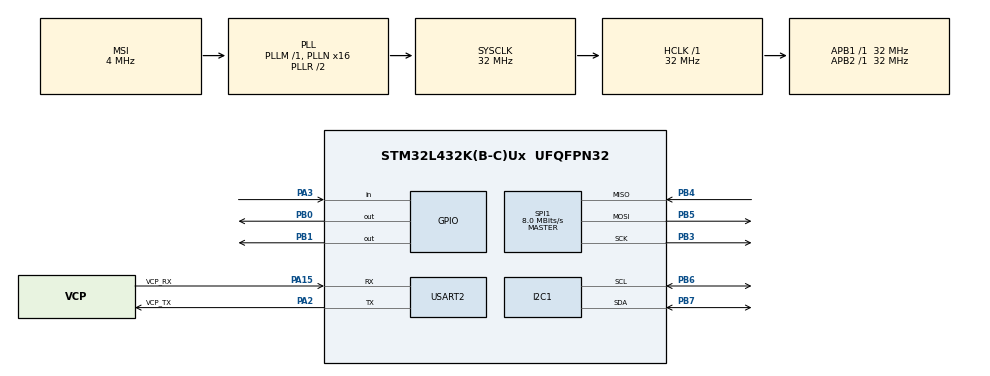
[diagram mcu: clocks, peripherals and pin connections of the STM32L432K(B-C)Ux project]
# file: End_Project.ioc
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I2C1.Timing=0x00B07CB4
Mcu.Family=STM32L4
Mcu.Name=STM32L432K(B-C)Ux
Mcu.Package=UFQFPN32
NVIC.PriorityGroup=NVIC_PRIORITYGROUP_4
NVIC.TIM6_DAC_IRQn=true\:0\:0\:false\:false\:true\:true\:true\:true
NVIC.USART2_IRQn=true\:0\:0\:false\:false\:true\:true\:true\:true
PA0.GPIO_Label=MCO [High speed clock in]
PA0.Signal=RCC_CK_IN
PA13\ (JTMS-SWDIO).GPIO_Label=SWDIO
PA13\ (JTMS-SWDIO).Signal=SYS_JTMS-SWDIO
PA14\ (JTCK-SWCLK).GPIO_Label=SWCLK
PA14\ (JTCK-SWCLK).Signal=SYS_JTCK-SWCLK
PA15\ (JTDI).GPIO_Label=VCP_RX
PA15\ (JTDI).Mode=Asynchronous
PA15\ (JTDI).Signal=USART2_RX
PA2.GPIO_Label=VCP_TX
PA2.Mode=Asynchronous
PA2.Signal=USART2_TX
PA3.Signal=GPIO_Input
PB0.GPIO_Speed=GPIO_SPEED_FREQ_VERY_HIGH
PB0.PinState=GPIO_PIN_SET
PB0.Signal=GPIO_Output
PB1.PinState=GPIO_PIN_SET
PB1.Signal=GPIO_Output
PB3\ (JTDO-TRACESWO).Mode=Full_Duplex_Master
PB3\ (JTDO-TRACESWO).Signal=SPI1_SCK
PB4\ (NJTRST).Mode=Full_Duplex_Master
PB4\ (NJTRST).Signal=SPI1_MISO
PB5.Mode=Full_Duplex_Master
PB5.Signal=SPI1_MOSI
PB6.Mode=I2C
PB6.Signal=I2C1_SCL
PB7.Mode=I2C
PB7.Signal=I2C1_SDA
PC14-OSC32_IN\ (PC14).Signal=RCC_OSC32_IN
PC15-OSC32_OUT\ (PC15).Signal=RCC_OSC32_OUT
ProjectManager.HeapSize=0x200
ProjectManager.StackSize=0x400
ProjectManager.TargetToolchain=STM32CubeIDE
RCC.AHBFreq_Value=32000000
RCC.APB1Freq_Value=32000000
RCC.APB1TimFreq_Value=32000000
RCC.APB2Freq_Value=32000000
RCC.APB2TimFreq_Value=32000000
RCC.CortexFreq_Value=32000000
RCC.HCLKFreq_Value=32000000
RCC.HSE_VALUE=8000000
RCC.HSI16_VALUE=16000000
RCC.HSI48_VALUE=48000000
RCC.HSI_VALUE=16000000
RCC.LSE_VALUE=32768
RCC.MSI_VALUE=4000000
RCC.PLLMUL=RCC_PLLMUL_4
RCC.PLLN=16
RCC.SYSCLKFreq_VALUE=32000000
RCC.SYSCLKSource=RCC_SYSCLKSOURCE_PLLCLK
RCC.VCOOutputFreq_Value=64000000
SPI1.BaudRatePrescaler=SPI_BAUDRATEPRESCALER_4
SPI1.CalculateBaudRate=8.0 MBits/s
SPI1.DataSize=SPI_DATASIZE_8BIT
SPI1.Direction=SPI_DIRECTION_2LINES
SPI1.Mode=SPI_MODE_MASTER
SPI1.VirtualType=VM_MASTER
TIM6.Period=999
TIM6.Prescaler=31999
USART2.VirtualMode-Asynchronous=VM_ASYNC
VP_TIM6_VS_ClockSourceINT.Mode=Enable_Timer
board=NUCLEO-L432KC

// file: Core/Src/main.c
/* USER CODE BEGIN Header */
/**
  ******************************************************************************
  * @file           : main.c
  * @brief          : Main program body
  ******************************************************************************
  * @attention
  *
  * Copyright (c) 2026 STMicroelectronics.
  * All rights reserved.
  *
  * This software is licensed under terms that can be found in the LICENSE file
  * in the root directory of this software component.
  * If no LICENSE file comes with this software, it is provided AS-IS.
  *
  ******************************************************************************
  */
/* USER CODE END Header */
#include "main.h"

/* USER CODE BEGIN Includes */
#include "string.h"
#include  "stdio.h"
#include "oled.h"
#include "show_display.h"
#include "stdlib.h"
#include "sht3xstm32.h"
#include "uart_oled_test.h"
//#include "__oledc_driver.h"
/* USER CODE END Includes */

I2C_HandleTypeDef hi2c1;

SPI_HandleTypeDef hspi1;

TIM_HandleTypeDef htim6;

UART_HandleTypeDef huart2;

/* USER CODE BEGIN PV */
SHT3xSTM32_Handle_t sht3x;
SHT3xSTM32_Data_t sht3xData;

char uartBuf[150];
#define LONG_PRESS_MS 2000
static uint32_t btnPressStartTime = 0;
static uint8_t  btnIsPressed = 0;
static uint8_t  longPressHandled = 0;

/* USER CODE END PV */

void SystemClock_Config(void);
static void MX_GPIO_Init(void);
static void MX_USART2_UART_Init(void);
static void MX_SPI1_Init(void);
static void MX_I2C1_Init(void);
static void MX_TIM6_Init(void);
/* USER CODE BEGIN PFP */
void Process_Button_Events(void);
/* USER CODE END PFP */

int main(void)
{

  /* MCU Configuration--------------------------------------------------------*/

  /* Reset of all peripherals, Initializes the Flash interface and the Systick. */
  HAL_Init();

  /* Configure the system clock */
  SystemClock_Config();

  /* Initialize all configured peripherals */
  MX_GPIO_Init();
  MX_USART2_UART_Init();
  MX_SPI1_Init();
  MX_I2C1_Init();
  MX_TIM6_Init();
  /* USER CODE BEGIN 2 */
  //data refresh time in ms
  static uint16_t Data_refresh_time = 10000;

    HAL_TIM_Base_Start(&htim6);
		SHT3xSTM32_Handle_t sht3xHandle;
		if (SHT3xSTM32_Init(&sht3xHandle, &hi2c1, 0x44) != HAL_OK) {
			Error_Handler();
		}

		if (SHT3xSTM32_Debug_Init(&huart2, &sht3xHandle) != HAL_OK) {
			Error_Handler();
		}

      /* Initialize OLED Display */
      Display_Init();
      Display_SetOrigin(OFFSET_X, OFFSET_Y);
      /* Initialize UART Interactive Test */
	  UART_OLED_Test_Init();
      HAL_Delay(100);
      //just playing around
      OLED_PlayStartupAnimation();
      //Show that there is no Data currently
      OLED_ShowPlaceholder();
      HAL_Delay(1234);

      SHT3xSTM32_UART_MenuHandler();

  /* USER CODE END 2 */

  /* Infinite loop */
  /* USER CODE BEGIN WHILE */
  while (1)
  {

	  Process_Button_Events();

	      /* Read SHT3x sensor once per second */
	  static uint32_t lastSensorRead = 0;
	  if (HAL_GetTick() - lastSensorRead >= Data_refresh_time)
	  {
		lastSensorRead = HAL_GetTick();

	if (SHT3xSTM32_Read(&sht3xHandle, &sht3xData) == HAL_OK)
	{
	          /* OLED_UpdateDisplay handles min/max updates and rendering automatically */
	  OLED_UpdateDisplay(sht3xData.temperature, sht3xData.humidity);
		}
  }
    /* USER CODE END WHILE */

  }
}

void SystemClock_Config(void)
{
  RCC_OscInitTypeDef RCC_OscInitStruct = {0};
  RCC_ClkInitTypeDef RCC_ClkInitStruct = {0};

  /** Configure the main internal regulator output voltage
  */
  if (HAL_PWREx_ControlVoltageScaling(PWR_REGULATOR_VOLTAGE_SCALE1) != HAL_OK)
  {
    Error_Handler();
  }

  /** Initializes the RCC Oscillators according to the specified parameters
  * in the RCC_OscInitTypeDef structure.
  */
  RCC_OscInitStruct.OscillatorType = RCC_OSCILLATORTYPE_MSI;
  RCC_OscInitStruct.MSIState = RCC_MSI_ON;
  RCC_OscInitStruct.MSICalibrationValue = 0;
  RCC_OscInitStruct.MSIClockRange = RCC_MSIRANGE_6;
  RCC_OscInitStruct.PLL.PLLState = RCC_PLL_ON;
  RCC_OscInitStruct.PLL.PLLSource = RCC_PLLSOURCE_MSI;
  RCC_OscInitStruct.PLL.PLLM = 1;
  RCC_OscInitStruct.PLL.PLLN = 16;
  RCC_OscInitStruct.PLL.PLLP = RCC_PLLP_DIV7;
  RCC_OscInitStruct.PLL.PLLQ = RCC_PLLQ_DIV2;
  RCC_OscInitStruct.PLL.PLLR = RCC_PLLR_DIV2;
  if (HAL_RCC_OscConfig(&RCC_OscInitStruct) != HAL_OK)
  {
    Error_Handler();
  }

  /** Initializes the CPU, AHB and APB buses clocks
  */
  RCC_ClkInitStruct.ClockType = RCC_CLOCKTYPE_HCLK|RCC_CLOCKTYPE_SYSCLK
                              |RCC_CLOCKTYPE_PCLK1|RCC_CLOCKTYPE_PCLK2;
  RCC_ClkInitStruct.SYSCLKSource = RCC_SYSCLKSOURCE_PLLCLK;
  RCC_ClkInitStruct.AHBCLKDivider = RCC_SYSCLK_DIV1;
  RCC_ClkInitStruct.APB1CLKDivider = RCC_HCLK_DIV1;
  RCC_ClkInitStruct.APB2CLKDivider = RCC_HCLK_DIV1;

  if (HAL_RCC_ClockConfig(&RCC_ClkInitStruct, FLASH_LATENCY_1) != HAL_OK)
  {
    Error_Handler();
  }
}

static void MX_I2C1_Init(void)
{

  hi2c1.Instance = I2C1;
  hi2c1.Init.Timing = 0x00B07CB4;
  hi2c1.Init.OwnAddress1 = 0;
  hi2c1.Init.AddressingMode = I2C_ADDRESSINGMODE_7BIT;
  hi2c1.Init.DualAddressMode = I2C_DUALADDRESS_DISABLE;
  hi2c1.Init.OwnAddress2 = 0;
  hi2c1.Init.OwnAddress2Masks = I2C_OA2_NOMASK;
  hi2c1.Init.GeneralCallMode = I2C_GENERALCALL_DISABLE;
  hi2c1.Init.NoStretchMode = I2C_NOSTRETCH_DISABLE;
  if (HAL_I2C_Init(&hi2c1) != HAL_OK)
  {
    Error_Handler();
  }

  /** Configure Analogue filter
  */
  if (HAL_I2CEx_ConfigAnalogFilter(&hi2c1, I2C_ANALOGFILTER_ENABLE) != HAL_OK)
  {
    Error_Handler();
  }

  /** Configure Digital filter
  */
  if (HAL_I2CEx_ConfigDigitalFilter(&hi2c1, 0) != HAL_OK)
  {
    Error_Handler();
  }

}

static void MX_SPI1_Init(void)
{

  /* SPI1 parameter configuration*/
  hspi1.Instance = SPI1;
  hspi1.Init.Mode = SPI_MODE_MASTER;
  hspi1.Init.Direction = SPI_DIRECTION_2LINES;
  hspi1.Init.DataSize = SPI_DATASIZE_8BIT;
  hspi1.Init.CLKPolarity = SPI_POLARITY_LOW;
  hspi1.Init.CLKPhase = SPI_PHASE_1EDGE;
  hspi1.Init.NSS = SPI_NSS_SOFT;
  hspi1.Init.BaudRatePrescaler = SPI_BAUDRATEPRESCALER_4;
  hspi1.Init.FirstBit = SPI_FIRSTBIT_MSB;
  hspi1.Init.TIMode = SPI_TIMODE_DISABLE;
  hspi1.Init.CRCCalculation = SPI_CRCCALCULATION_DISABLE;
  hspi1.Init.CRCPolynomial = 7;
  hspi1.Init.CRCLength = SPI_CRC_LENGTH_DATASIZE;
  hspi1.Init.NSSPMode = SPI_NSS_PULSE_ENABLE;
  if (HAL_SPI_Init(&hspi1) != HAL_OK)
  {
    Error_Handler();
  }

}

static void MX_TIM6_Init(void)
{

  TIM_MasterConfigTypeDef sMasterConfig = {0};

  htim6.Instance = TIM6;
  htim6.Init.Prescaler = 31999;
  htim6.Init.CounterMode = TIM_COUNTERMODE_UP;
  htim6.Init.Period = 999;
  htim6.Init.AutoReloadPreload = TIM_AUTORELOAD_PRELOAD_DISABLE;
  if (HAL_TIM_Base_Init(&htim6) != HAL_OK)
  {
    Error_Handler();
  }
  sMasterConfig.MasterOutputTrigger = TIM_TRGO_RESET;
  sMasterConfig.MasterSlaveMode = TIM_MASTERSLAVEMODE_DISABLE;
  if (HAL_TIMEx_MasterConfigSynchronization(&htim6, &sMasterConfig) != HAL_OK)
  {
    Error_Handler();
  }

}

static void MX_USART2_UART_Init(void)
{

  huart2.Instance = USART2;
  huart2.Init.BaudRate = 115200;
  huart2.Init.WordLength = UART_WORDLENGTH_8B;
  huart2.Init.StopBits = UART_STOPBITS_1;
  huart2.Init.Parity = UART_PARITY_NONE;
  huart2.Init.Mode = UART_MODE_TX_RX;
  huart2.Init.HwFlowCtl = UART_HWCONTROL_NONE;
  huart2.Init.OverSampling = UART_OVERSAMPLING_16;
  huart2.Init.OneBitSampling = UART_ONE_BIT_SAMPLE_DISABLE;
  huart2.AdvancedInit.AdvFeatureInit = UART_ADVFEATURE_NO_INIT;
  if (HAL_UART_Init(&huart2) != HAL_OK)
  {
    Error_Handler();
  }

}

static void MX_GPIO_Init(void)
{
  GPIO_InitTypeDef GPIO_InitStruct = {0};

  /* GPIO Ports Clock Enable */
  __HAL_RCC_GPIOC_CLK_ENABLE();
  __HAL_RCC_GPIOA_CLK_ENABLE();
  __HAL_RCC_GPIOB_CLK_ENABLE();

  /*Configure GPIO pin Output Level */
  HAL_GPIO_WritePin(GPIOB, GPIO_PIN_0|GPIO_PIN_1, GPIO_PIN_SET);

  /*Configure GPIO pin : PA3 */
  GPIO_InitStruct.Pin = GPIO_PIN_3;
  GPIO_InitStruct.Mode = GPIO_MODE_INPUT;
  GPIO_InitStruct.Pull = GPIO_NOPULL;
  HAL_GPIO_Init(GPIOA, &GPIO_InitStruct);

  /*Configure GPIO pin : PB0 */
  GPIO_InitStruct.Pin = GPIO_PIN_0;
  GPIO_InitStruct.Mode = GPIO_MODE_OUTPUT_PP;
  GPIO_InitStruct.Pull = GPIO_NOPULL;
  GPIO_InitStruct.Speed = GPIO_SPEED_FREQ_VERY_HIGH;
  HAL_GPIO_Init(GPIOB, &GPIO_InitStruct);

  /*Configure GPIO pin : PB1 */
  GPIO_InitStruct.Pin = GPIO_PIN_1;
  GPIO_InitStruct.Mode = GPIO_MODE_OUTPUT_PP;
  GPIO_InitStruct.Pull = GPIO_NOPULL;
  GPIO_InitStruct.Speed = GPIO_SPEED_FREQ_LOW;
  HAL_GPIO_Init(GPIOB, &GPIO_InitStruct);

  /* USER CODE BEGIN MX_GPIO_Init_2 */
  HAL_GPIO_WritePin(GPIOB, GPIO_PIN_6, GPIO_PIN_RESET);
  HAL_GPIO_WritePin(GPIOB, GPIO_PIN_0|GPIO_PIN_7, GPIO_PIN_SET);

  /* USER CODE END MX_GPIO_Init_2 */
}

/* USER CODE BEGIN 4 */
void Process_Button_Events(void)
{
  /* Active LOW: SW1 pulls PA3 to GND when pressed */
  uint8_t pinState = HAL_GPIO_ReadPin(GPIOA, GPIO_PIN_3);

  if (pinState == GPIO_PIN_RESET)
  {
    if (!btnIsPressed)
    {
      btnIsPressed = 1;
      btnPressStartTime = HAL_GetTick();
      longPressHandled = 0;
    }
    else if (!longPressHandled && ((HAL_GetTick() - btnPressStartTime) >= LONG_PRESS_MS))
    {
      /* Long press detected (>= 2s): Reset min/max readings */
      OLED_ResetMinMax();
      longPressHandled = 1;
    }
  }
  else
  {
    if (btnIsPressed)
    {
      uint32_t pressDuration = HAL_GetTick() - btnPressStartTime;

      if (!longPressHandled && pressDuration < LONG_PRESS_MS)
      {
        /* Short press detected: Cycle through display modes */
        OLED_NextDisplayMode();
      }

      btnIsPressed = 0;
      longPressHandled = 0;
    }
  }
}
/* USER CODE END 4 */

void Error_Handler(void)
{
  __disable_irq();
  while (1)
  {
  }
}
